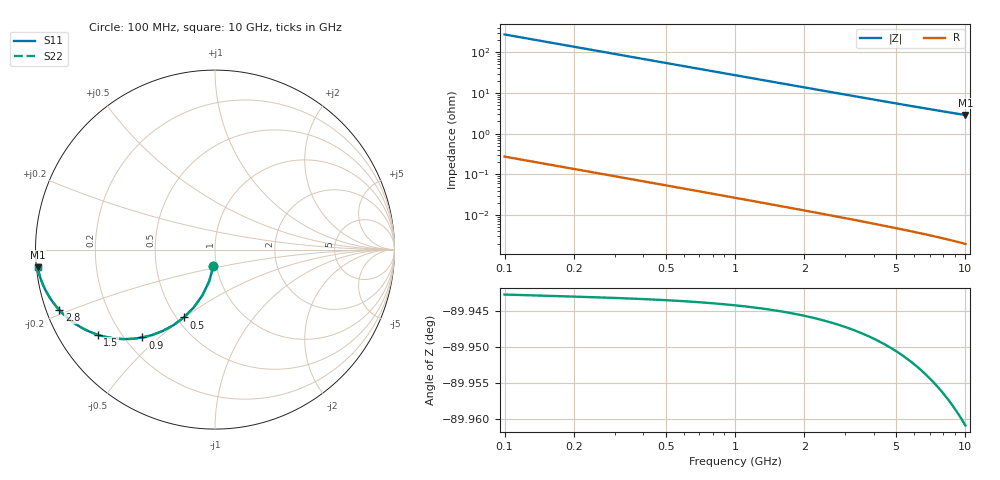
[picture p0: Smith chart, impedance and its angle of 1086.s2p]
# Hz S RI R 50.00
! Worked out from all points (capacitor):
!   100 points, 100 MHz to 10 GHz, reference 50 ohm
!   read as one part in shunt: C = 5.83 pF near 100 MHz
!   lowest |Z| = 2.87 ohm at 10 GHz (marker M1)
!   S11 on the Smith chart (normalised r, x): 100 MHz: 0.97, -0.18; 500 MHz: 0.54, -0.50; 900 MHz: 0.27, -0.44; 1.5 GHz: 0.12, -0.32; 2.8 GHz: 0.04, -0.19; 10 GHz: 0.00, -0.05
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1e8  -0.00836 -0.0907  0.9916 -0.0908  0.9916 -0.0908  -0.00836 -0.0907
2e8  -0.0325 -0.1769  0.9674 -0.1772  0.9674 -0.1772  -0.0325 -0.1769
3e8  -0.0703 -0.255  0.9296 -0.2554  0.9296 -0.2554  -0.0703 -0.255
4e8  -0.1184 -0.3223  0.8815 -0.3229  0.8815 -0.3229  -0.1184 -0.3223
5e8  -0.1734 -0.3777  0.8266 -0.3784  0.8266 -0.3784  -0.1734 -0.3777
6e8  -0.2319 -0.4211  0.7681 -0.4219  0.7681 -0.4219  -0.2319 -0.4211
7e8  -0.2911 -0.4533  0.7088 -0.4543  0.7088 -0.4543  -0.2911 -0.4533
8e8  -0.3491 -0.4756  0.6509 -0.4767  0.6509 -0.4767  -0.3491 -0.4756
9e8  -0.4042 -0.4896  0.5957 -0.4909  0.5957 -0.4909  -0.4042 -0.4896
1e9  -0.4558 -0.4969  0.5441 -0.4982  0.5441 -0.4982  -0.4558 -0.4969
1.2e9  -0.5466 -0.4965  0.4533 -0.4981  0.4533 -0.4981  -0.5466 -0.4965
1.5e9  -0.6531 -0.4745  0.3468 -0.4765  0.3468 -0.4765  -0.6531 -0.4745
1.8e9  -0.7305 -0.442  0.2695 -0.4444  0.2695 -0.4444  -0.7305 -0.442
2e9  -0.7698 -0.4191  0.2301 -0.4217  0.2301 -0.4217  -0.7698 -0.4191
2.3e9  -0.8156 -0.3857  0.1843 -0.3888  0.1843 -0.3888  -0.8156 -0.3857
2.8e9  -0.8676 -0.3365  0.1323 -0.3403  0.1323 -0.3403  -0.8676 -0.3365
3.4e9  -0.9062 -0.2887  0.0937 -0.2933  0.0937 -0.2933  -0.9062 -0.2887
4.2e9  -0.9365 -0.2405  0.0634 -0.2462  0.0634 -0.2462  -0.9365 -0.2405
5.1e9  -0.956 -0.2009  0.0439 -0.2079  0.0439 -0.2079  -0.956 -0.2009
6.7e9  -0.9741 -0.1535  0.0258 -0.1627  0.0258 -0.1627  -0.9741 -0.1535
8.4e9  -0.9834 -0.121  0.0164 -0.1326  0.0164 -0.1326  -0.9834 -0.121
1e10  -0.9883 -0.0996  0.0115 -0.1135  0.0115 -0.1135  -0.9883 -0.0996
